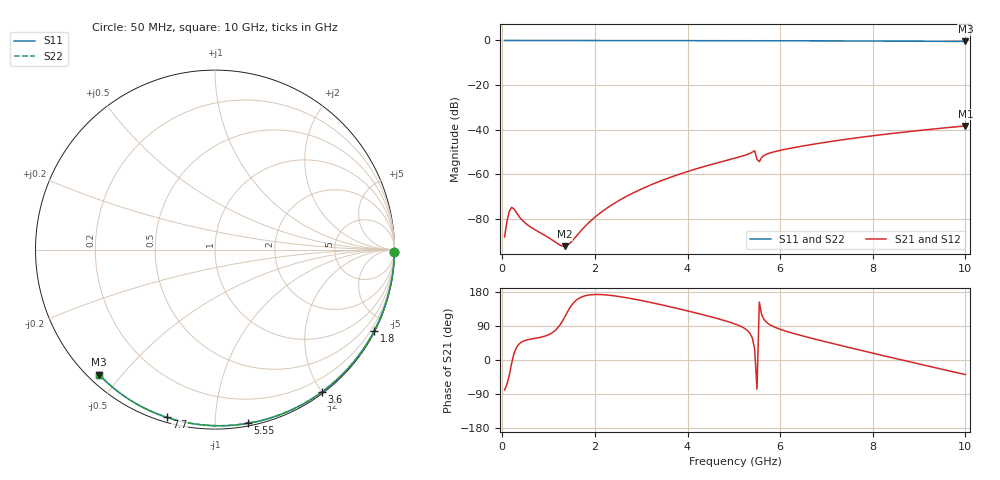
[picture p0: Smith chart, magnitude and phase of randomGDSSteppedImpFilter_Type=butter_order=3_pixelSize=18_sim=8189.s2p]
! freq	dB(S11)	phase(S11)	dB(S12)	phase(S12)
!  dB(S21)	phase(S21)	dB(S22)	phase(S22)
!S-par simulation data
#  GHz  S  DB  R 50
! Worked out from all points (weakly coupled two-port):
!   200 points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, 50 MHz to 10 GHz, reference 50 ohm
!   highest |S21| = -38.32 dB at 10 GHz (marker M1); lowest = -92.3 dB at 1.35 GHz (marker M2)
!   lowest |S11| = -0.4 dB at 10 GHz (marker M3), VSWR 38.71, Z = 1.54 - j21.8 ohm
!   |S11| at or under -10 dB: nowhere
!   |S22| runs from -0.4 to 0.0 dB; largest |S21 - S12| = 0
!   S11 on the Smith chart (normalised r, x): 50 MHz: open; 1.8 GHz: 0.04, -4.13; 3.6 GHz: 0.02, -2.00; 5.55 GHz: 0.02, -1.21; 7.7 GHz: 0.02, -0.75; 10 GHz: 0.03, -0.44
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0.05  -0.00 -0.8  -88.10 -79.2  -88.10 -79.2  -0.00 -0.8
0.1  -0.00 -1.5  -81.12 -64.5  -81.12 -64.5  -0.00 -1.5
0.15  -0.00 -2.3  -76.69 -40.8  -76.69 -40.8  -0.00 -2.3
0.2  -0.00 -3.1  -74.86 -9.9  -74.86 -9.9  -0.00 -3.1
0.4  -0.00 -6.1  -79.89 46.1  -79.89 46.1  -0.00 -6.1
1.35  -0.03 -20.5  -92.27 114.2  -92.27 114.2  -0.03 -20.5
1.75  -0.03 -26.5  -84.19 168.0  -84.19 168.0  -0.03 -26.5
1.8  -0.03 -27.2  -83.10 169.8  -83.10 169.8  -0.03 -27.2
1.95  -0.04 -29.4  -80.16 172.5  -80.16 172.5  -0.04 -29.4
2.55  -0.05 -38.2  -71.43 167.0  -71.43 167.0  -0.05 -38.2
3.4  -0.07 -50.4  -63.17 146.7  -63.17 146.7  -0.07 -50.4
3.6  -0.07 -53.2  -61.61 141.1  -61.61 141.1  -0.07 -53.2
5.05  -0.11 -72.9  -52.65 93.9  -52.65 93.9  -0.11 -73.0
5.45  -0.14 -78.3  -49.50 27.9  -49.50 27.9  -0.14 -78.3
5.5  -0.17 -78.8  -53.34 -77.2  -53.34 -77.2  -0.17 -78.8
5.55  -0.14 -79.3  -54.34 152.8  -54.34 152.8  -0.14 -79.3
5.6  -0.14 -80.0  -52.48 119.9  -52.48 119.9  -0.14 -80.0
5.75  -0.14 -82.0  -50.68 95.3  -50.68 95.3  -0.14 -82.0
6.7  -0.18 -94.0  -46.60 56.7  -46.60 56.7  -0.18 -94.0
7.7  -0.24 -106.1  -43.55 26.7  -43.55 26.7  -0.24 -106.1
8.35  -0.29 -113.8  -41.88 7.9  -41.88 7.9  -0.29 -113.8
10  -0.45 -132.8  -38.32 -38.5  -38.32 -38.5  -0.45 -132.8
